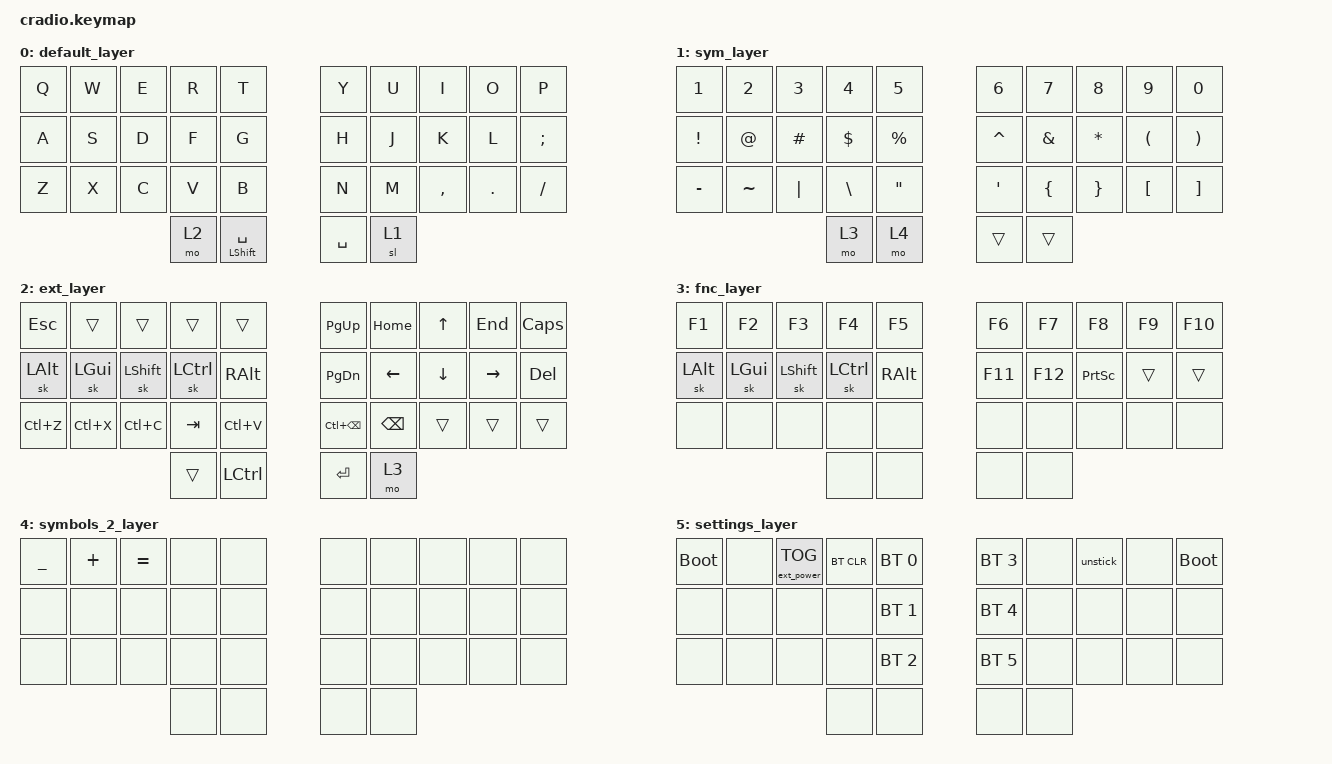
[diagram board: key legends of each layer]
/*
 * Copyright (c) 2020 The ZMK Contributors
 *
 * SPDX-License-Identifier: MIT
 */

#include <behaviors.dtsi>
#include <dt-bindings/zmk/bt.h>
#include <dt-bindings/zmk/ext_power.h>
#include <dt-bindings/zmk/keys.h>

// Layer definitions

#define BASE 0
#define SYM 1
#define EXT 2
#define FNC 3
#define SYM2 4
#define ACCENT 5
#define SETTINGS 6

// -----------------

&mt {
    //  flavor = "tap-preferred";
    // tapping_term_ms = <200>;
};

&sk { ignore-modifiers; };

/ {
    macros {
        // sometimes my device thinks a modifier is being held down
        // pressing all modifiers fixes it.

        unstick: unstick {
            label = "ZM_unstick";
            compatible = "zmk,behavior-macro";
            #binding-cells = <0>;
            bindings = <&kp LSHIFT &kp RSHIFT &kp LCTRL &kp RCTRL &kp LALT &kp RALT &kp LGUI &kp RGUI>;
        };
    };

    combos {
        compatible = "zmk,combos";

        // both right thumb keys

        combo_accent {
            timeout-ms = <300>;
            key-positions = <32 33>;
            bindings = <&mo 0>;
        };

        // internal-left & external-right thumb keys

        combo_sym2 {
            timeout-ms = <200>;
            key-positions = <31 33>;
            bindings = <&mo 4>;
        };

        // both left thumb keys

        combo_settings {
            timeout-ms = <300>;
            key-positions = <30 31>;
            bindings = <&mo 5>;
        };
    };

    keymap {
        compatible = "zmk,keymap";

        // Base alpha layer

        default_layer {
            bindings = <
&kp Q  &kp W  &kp E  &kp R  &kp T               &kp Y      &kp U  &kp I      &kp O    &kp P
&kp A  &kp S  &kp D  &kp F  &kp G               &kp H      &kp J  &kp K      &kp L    &kp SEMI
&kp Z  &kp X  &kp C  &kp V  &kp B               &kp N      &kp M  &kp COMMA  &kp DOT  &kp SLASH
                     &mo 2  &mt LSHIFT SPACE    &kp SPACE  &sl 1
            >;
        };

        // Numbers and high frequency symbols

        sym_layer {
            bindings = <
&kp N1     &kp N2       &kp N3    &kp N4         &kp N5               &kp N6     &kp N7          &kp N8           &kp N9            &kp N0
&kp EXCL   &kp AT_SIGN  &kp HASH  &kp DOLLAR     &kp PERCENT          &kp CARET  &kp AMPS        &kp ASTRK        &kp LPAR          &kp RPAR
&kp MINUS  &kp TILDE    &kp PIPE  &kp BACKSLASH  &kp DOUBLE_QUOTES    &kp SQT    &kp LEFT_BRACE  &kp RIGHT_BRACE  &kp LEFT_BRACKET  &kp RIGHT_BRACKET
                                  &mo 3          &mo 4                &trans     &trans
            >;
        };

        // Main modifiers and arrow keys

        ext_layer {
            bindings = <
&kp ESC    &trans     &trans      &trans     &trans       &kp PG_UP     &kp HOME  &kp UP    &kp END    &kp CAPS
&sk LALT   &sk LGUI   &sk LSHIFT  &sk LCTRL  &kp RALT     &kp PG_DN     &kp LEFT  &kp DOWN  &kp RIGHT  &kp DEL
&kp LC(Z)  &kp LC(X)  &kp LC(C)   &kp TAB    &kp LC(V)    &kp LC(BSPC)  &kp BSPC  &trans    &trans     &trans
                                  &trans     &kp LCTRL    &kp ENTER     &mo 3
            >;
        };

        // Function keys with modifiers

        fnc_layer {
            bindings = <
&kp F1    &kp F2    &kp F3      &kp F4     &kp F5      &kp F6   &kp F7   &kp F8           &kp F9  &kp F10
&sk LALT  &sk LGUI  &sk LSHIFT  &sk LCTRL  &kp RALT    &kp F11  &kp F12  &kp PRINTSCREEN  &trans  &trans
&none     &none     &none       &none      &none       &none    &none    &none            &none   &none
                                &none      &none       &none    &none
            >;
        };

        // Low frequency symbols.

        symbols_2_layer {
            bindings = <
&kp UNDER  &kp PLUS  &kp EQUAL  &none  &none    &none  &none  &none  &none  &none
&none      &none     &none      &none  &none    &none  &none  &none  &none  &none
&none      &none     &none      &none  &none    &none  &none  &none  &none  &none
                                &none  &none    &none  &none
            >;
        };

        // Used to type regional accents.
        // Used to change the keyboard's settings.

        settings_layer {
            bindings = <
&bootloader  &none  &ext_power EP_TOG  &bt BT_CLR  &bt BT_SEL 0    &bt BT_SEL 3  &none  &unstick  &none  &bootloader
&none        &none  &none              &none       &bt BT_SEL 1    &bt BT_SEL 4  &none  &none     &none  &none
&none        &none  &none              &none       &bt BT_SEL 2    &bt BT_SEL 5  &none  &none     &none  &none
                                       &none       &none           &none         &none
            >;
        };
    };
};
